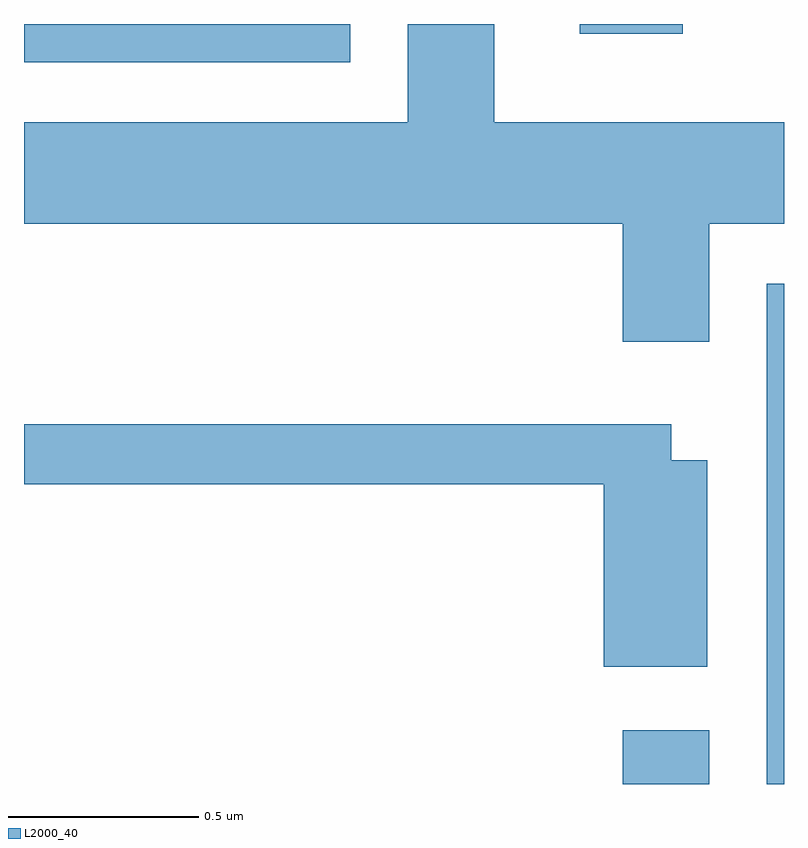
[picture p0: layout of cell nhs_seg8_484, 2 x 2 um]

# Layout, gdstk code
import gdstk
lib = gdstk.Library(unit=1e-6, precision=1e-09)
def R(c, l, rs):  # rectangles x0, y0, x1, y1
    for r in rs: c.add(gdstk.rectangle(r[:2], r[2:], *l))
def P(c, l, *ps):  # polygons
    for p in ps: c.add(gdstk.Polygon(p, *l))
L2000_40 = (2000, 40)

nhs_seg8_484 = lib.new_cell('nhs_seg8_484')
R(nhs_seg8_484, L2000_40, [(190.186,1879.342,190.414,1879.484), (190.566,1879.342,190.611,1880.659), (188.611,1881.241,189.469,1881.342), (190.073,1881.316,190.344,1881.342)])
P(nhs_seg8_484, L2000_40, [(190.414,1880.816),(190.611,1880.816),(190.611,1881.084),(189.849,1881.084),(189.849,1881.342),(189.621,1881.342),(189.621,1881.084),(188.611,1881.084),(188.611,1880.816),(190.186,1880.816),(190.186,1880.506),(190.414,1880.506)],
  [(190.409,1880.194),(190.314,1880.194),(190.314,1880.289),(188.611,1880.289),(188.611,1880.131),(190.136,1880.131),(190.136,1879.651),(190.409,1879.651)])

lib.write_gds('nhs_seg8_484.gds')
